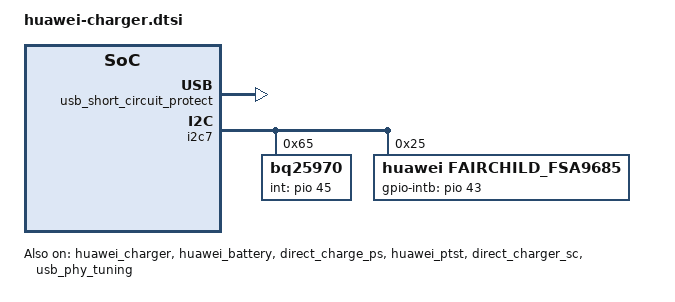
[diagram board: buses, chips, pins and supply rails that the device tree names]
&charger {
	ac_charger_current = <2500000>;
	ac_charger_input_current = <2100000>;
	fcp_charger_current = <2500000>;
	fcp_charger_input_current = <1400000>;
	non_std_ac_charger_current = <1200000>;
	pd_vbus_upper_bound = <10000000>;
	max_charger_voltage = <12000000>;
	dpm_enable;
	battery_cv = <4430000>;
	iterm = <150000>;
	vbus_max_limit = <11500>;
	bc12_charger = <22>; /* usb switch do bc12 */
	dynamic_iterm_en;
	jeita_temp_above_t4_cv = <4100000>;
	jeita_temp_t3_to_t4_cv = <4100000>;
	jeita_temp_t2_to_t3_cv = <4430000>;
	jeita_temp_t1_to_t2_cv = <4430000>;
	jeita_temp_t0_to_t1_cv = <4430000>;
	jeita_temp_below_t0_cv = <4100000>;
	jeita_temp_t0_to_t1_iterm = <150000>;
	jeita_temp_t1_to_t2_iterm = <150000>;
	jeita_temp_t2_to_t3_iterm = <500000>;
	jeita_temp_t3_to_t4_iterm = <150000>;
	jeita_temp_t3_to_t4_cur = <1365000>;
	jeita_temp_t2_to_t3_cur = <2870000>;
	jeita_temp_t1_to_t2_cur = <1150000>;
	jeita_temp_t0_to_t1_cur = <400000>;
	vdpm_buf_limit = <100>;
	vdpm_para =
			"-32767", "4000", "4240", "50",
			"4000", "4200", "4400", "50",
			"4200", "32767", "4600", "50";
	charge_full_design = <4000000>;
};

&huawei_charger {
	compatible = "huawei,charger";
	en_eoc_max_delay = <6>;
	status = "okay";
};

&huawei_battery {
	compatible = "huawei,battery";
	voltage_max_design = <4430000>;
	status = "okay";
};

&lk_charger{
	ac_charger_current = <1050000>;
	ac_charger_input_current = <1050000>;
	non_std_ac_charger_current = <1050000>;
	max_charger_voltage = <12000000>;
	is_power_path;
	poweron_charger_enable = <1>;
};

&direct_charge_ps {
	status = "ok";
};

&direct_charger {
	use_5A = <1>;
	volt_para =
		"4420", "2800", "1200";
	compensate_r = <20>;
	cc_cable_detect_enable = <1>;
	high_temp_hysteresis = <1>;
	full_path_res_max = <500>;
	super_ico_current = <2400>;
	scp_work_on_charger = <1>;
	standard_cable_full_path_res_max = <500>;
	first_cc_stage_timer_in_min = <0>;
	stage_need_to_jump = "1";
	is_show_ico_first = <1>;
	is_send_cable_type = <0>;
	temp_para =
		"-32767", "10", "0",
		"10", "45", "2800",
		"45", "32767", "0";
	status = "disable";
};

&huawei_ptst {
	compatible = "huawei,power_test";
	dc_mmi = <1>;
	dc_mmi_para = <45 0x01 0 1000 1>;
	status = "ok";
};

&direct_charger_sc {
	use_5A = <1>;
	dc_volt_ratio = <2>;
	max_adaptor_vset = <11000>;
	init_adapter_vset = <8800>;
	delta_err_10v2p25a = <150>;
	vol_err_th = <500>;
	adaptor_leakage_current_th = <600>;
	vstep = <20>;
	high_temp_hysteresis = <1>;
	gain_curr_10v2a = <300>;
	gain_curr_10v2p25a = <500>;
	init_delt_vset = <450>;
	max_dc_bat_vol = <4380>;
	max_current_for_none_standard_cable = <5000>;
	volt_para =
		"4250", "5200", "4800",
		"4350", "4800", "2800",
		"4440", "2800", "1200";
	compensate_r = <17>;
	cc_cable_detect_enable = <1>;
	full_path_res_max = <500>;
	scp_work_on_charger = <1>;
	standard_cable_full_path_res_max = <500>;
	first_cc_stage_timer_in_min = <10>;
	stage_need_to_jump = "-1";
	is_show_ico_first = <1>;
	is_send_cable_type = <0>;
	temp_para =
		"-32767", "10", "0",
		"10", "45", "5200",
		"45", "32767", "0";
	resist_para =
		"0", "300", "5200",
		"300", "500", "5200";
	std_resist_para =
		"0", "300", "5200",
		"300", "500", "5200";
	10v2p25a_cur_para =
		"-32767", "5500",  "2000",
		"5500",   "9000",  "2500",
		"9000",   "10000", "2250",
		"10000",  "10500", "2000",
		"10500",  "32767", "1500";
	status = "ok";
};

&bat_gm30 {
	bat_para =
		"BNT_CAE", "250000", "330000",
		"BCY_CBL", "830000", "940000",
		"BIT_CAE", "405000", "500000",
		"BYT_CGL", "140000", "210000",
		"BYT_CGL_NC", "1100000", "1270000",
		"BNT_CAE_NC", "580000", "680000";
	ntc_compensation_is = <1>;
	ntc_temp_compensation_para =
		"4000", "10",
		"3000", "10",
		"2000", "10",
		"1000", "10";
	min_fcc = <2800000>;
	max_fcc = <4000000>;
	g_FG_PSEUDO100_T0 = <(97)>;
	g_FG_PSEUDO100_T1 = <(97)>;
	g_FG_PSEUDO100_T2 = <(97)>;
	g_FG_PSEUDO100_T3 = <(97)>;
	g_FG_PSEUDO100_T4 = <(97)>;
	dlpt_optimization;
	CAR_TUNE_VALUE = <(250)>;
	#include "../huawei_charger/BNT_CAE_4V45_4000mah_22P5W_ext.dtsi"
	#include "../huawei_charger/BCY_CBL_4V45_4000mah_22P5W_ext.dtsi"
	#include "../huawei_charger/BIT_CAE_4V45_4000mah_22P5W_ext.dtsi"
	#include "../huawei_charger/BYT_CGL_4V45_4000mah_22P5W_ext.dtsi"
	#include "../huawei_charger/BYT_CGL_NC_4V45_4000mah_22P5W_ext.dtsi"
	#include "../huawei_charger/BNT_CAE_NC_4V45_4000mah_22P5W_ext.dtsi"
};

&usb_c_pinctrl {
	status = "disabled";
};

&mt6360_pmu {
	mt6360,intr_gpio_num = <10>; /* direct defined GPIO num */
	mt6360,intr_gpio = <&pio 10 0x0>;
	chg {
		ircmp_resistor = <25000>;
	};
};

&mt6360_typec {
	mt6360pd,intr_gpio_num = <9>; /* direct defined GPIO num */
	mt6360pd,intr_gpio = <&pio 9 0x0>;
};

&power_thermalzone {
	status = "ok";
};

&usb_short_circuit_protect {
	status = "ok";
};

&usb_phy_tuning {
	h_u2_vrt_ref = <6>;
	h_u2_term_ref = <2>;
	h_u2_enhance = <2>;
	d_u2_vrt_ref = <6>;
	d_u2_term_ref = <4>;
	d_u2_enhance = <1>;
	status = "ok";
};

&pio {
	bq25970_irq_pins_default: bq25970_irq_pins_default {
		pins_cmd_dat {
			pinmux = <PINMUX_GPIO45__FUNC_GPIO45>;
			slew-rate = <0>;
			bias-pull-up;
		};
	};
	fsa9685_irq_pins_default: fsa9685_irq_pins_default {
		pins_cmd_dat {
			pinmux = <PINMUX_GPIO43__FUNC_GPIO43>;
			slew-rate = <0>;
			bias-pull-up;
		};
	};
};

&i2c7 {
		bq25970@65 {
			compatible = "bq25970";
			pinctrl-names = "default";
			pinctrl-0 = <&bq25970_irq_pins_default>;
			gpio_int = <&pio 45 0x0>;
			switching_frequency = <675>;
			sense_r_config = <20>;
			sense_r_actual = <20>;
			reg = <0x65>;
			status = "ok";
		};
		fairchild_fsa9685@25 {
			compatible = "huawei,fairchild_fsa9685";
			reg = <0x25>;
			pinctrl-names = "default";
			pinctrl-0 = <&fsa9685_irq_pins_default>;
			fairchild_fsa9685,gpio-intb = <&pio 43 0x0>;
			fcp_support = <1>;
			scp_support = <1>;
			power_by_5v = <1>;
			close_bc12 = <1>;
			ignore_force_ac = <1>;
			/* for rt8979 */
			interrupt-names = "vbus_change", "device_change", "detach",
					  "attach";
			/* auto_switch; */
			scp;
			dcd;
			dcd_timeout = <600>;  /* ms */
			intb_watchdog = <1000>;  /* ms */
			ovp_sel = <14500000>;  /* uV */
			status = "ok";
		};
};
